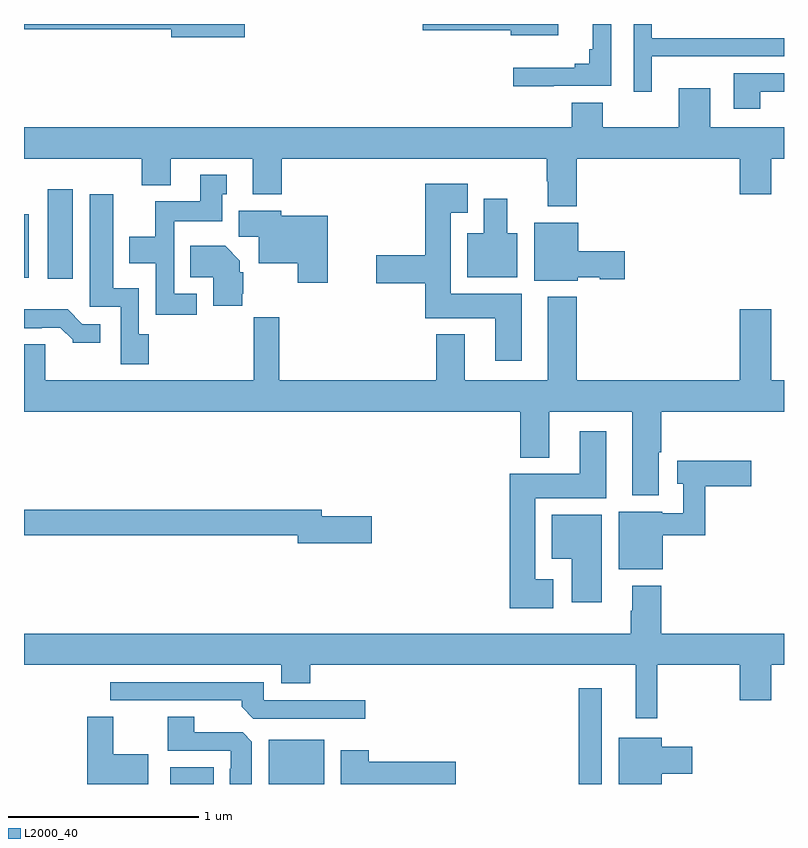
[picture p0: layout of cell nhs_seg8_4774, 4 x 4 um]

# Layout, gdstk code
import gdstk
lib = gdstk.Library(unit=1e-6, precision=1e-09)
def R(c, l, rs):  # rectangles x0, y0, x1, y1
    for r in rs: c.add(gdstk.rectangle(r[:2], r[2:], *l))
def P(c, l, *ps):  # polygons
    for p in ps: c.add(gdstk.Polygon(p, *l))
L2000_40 = (2000, 40)

nhs_seg8_4774 = lib.new_cell('nhs_seg8_4774')
R(nhs_seg8_4774, L2000_40, [(401.771,1087.9,401.998,1087.987), (402.287,1087.9,402.58,1088.134), (403.92,1087.9,404.041,1088.404), (401.126,1090.56,401.257,1091.029), (401,1090.565,401.026,1090.9)])
P(nhs_seg8_4774, L2000_40, [(404.305,1091.729),(404.639,1091.729),(404.639,1091.73),(405,1091.73),(405,1091.826),(404.304,1091.826),(404.304,1091.9),(404.208,1091.9),(404.208,1091.544),(404.305,1091.544)],
  [(402.163,1091.9),(401,1091.9),(401,1091.872),(401.774,1091.872),(401.774,1091.83),(402.163,1091.83)],
  [(403.787,1091.574),(404.091,1091.574),(404.091,1091.9),(403.994,1091.9),(403.994,1091.767),(403.975,1091.767),(403.975,1091.69),(403.898,1091.69),(403.898,1091.671),(403.575,1091.671),(403.575,1091.573),(403.787,1091.573)],
  [(403.813,1091.9),(403.098,1091.9),(403.098,1091.867),(403.562,1091.867),(403.562,1091.84),(403.813,1091.84)],
  [(404.875,1091.544),(405,1091.544),(405,1091.64),(404.735,1091.64),(404.735,1091.454),(404.875,1091.454)],
  [(403.91,1091.192),(404.768,1091.192),(404.768,1091.004),(404.932,1091.004),(404.932,1091.192),(405,1091.192),(405,1091.356),(404.611,1091.356),(404.611,1091.563),(404.447,1091.563),(404.447,1091.356),(404.047,1091.356),(404.047,1091.485),(403.883,1091.485),(403.883,1091.356),(401,1091.356),(401,1091.192),(401.621,1091.192),(401.621,1091.051),(401.773,1091.051),(401.773,1091.192),(402.203,1091.192),(402.203,1091.003),(402.356,1091.003),(402.356,1091.192),(403.75,1091.192),(403.75,1091.072),(403.757,1091.072),(403.757,1090.94),(403.91,1090.94)],
  [(401.908,1090.479),(401.79,1090.479),(401.79,1090.862),(402.043,1090.862),(402.043,1091.004),(402.067,1091.004),(402.067,1091.107),(401.927,1091.107),(401.927,1090.966),(401.692,1090.966),(401.692,1090.78),(401.555,1090.78),(401.555,1090.64),(401.694,1090.64),(401.694,1090.371),(401.908,1090.371)],
  [(403.621,1090.48),(403.246,1090.48),(403.246,1090.907),(403.336,1090.907),(403.336,1091.059),(403.112,1091.059),(403.112,1090.682),(402.855,1090.682),(402.855,1090.535),(403.112,1090.535),(403.112,1090.352),(403.481,1090.352),(403.481,1090.128),(403.621,1090.128)],
  [(401.657,1090.266),(401.604,1090.266),(401.604,1090.51),(401.47,1090.51),(401.47,1091.005),(401.345,1091.005),(401.345,1090.413),(401.508,1090.413),(401.508,1090.11),(401.657,1090.11)],
  [(403.597,1090.798),(403.543,1090.798),(403.543,1090.981),(403.421,1090.981),(403.421,1090.798),(403.334,1090.798),(403.334,1090.568),(403.597,1090.568)],
  [(402.598,1090.891),(402.354,1090.891),(402.354,1090.918),(402.131,1090.918),(402.131,1090.78),(402.236,1090.78),(402.236,1090.64),(402.44,1090.64),(402.44,1090.539),(402.598,1090.539)],
  [(403.914,1090.568),(404.031,1090.568),(404.031,1090.556),(404.161,1090.556),(404.161,1090.703),(403.918,1090.703),(403.918,1090.855),(403.685,1090.855),(403.685,1090.55),(403.914,1090.55)],
  [(402.149,1090.479),(402.154,1090.479),(402.154,1090.593),(402.136,1090.593),(402.136,1090.654),(402.058,1090.732),(401.875,1090.732),(401.875,1090.568),(401.996,1090.568),(401.996,1090.418),(402.149,1090.418)],
  [(404.341,1089.645),(404.354,1089.645),(404.354,1089.86),(405,1089.86),(405,1090.024),(404.932,1090.024),(404.932,1090.399),(404.768,1090.399),(404.768,1090.024),(403.91,1090.024),(403.91,1090.465),(403.757,1090.465),(403.757,1090.024),(403.321,1090.024),(403.321,1090.267),(403.169,1090.267),(403.169,1090.024),(402.344,1090.024),(402.344,1090.357),(402.208,1090.357),(402.208,1090.024),(401.113,1090.024),(401.113,1090.214),(401,1090.214),(401,1089.86),(403.613,1089.86),(403.613,1089.617),(403.765,1089.617),(403.765,1089.86),(404.201,1089.86),(404.201,1089.419),(404.341,1089.419)],
  [(401.401,1090.32),(401.307,1090.32),(401.229,1090.399),(401,1090.399),(401,1090.299),(401.093,1090.299),(401.093,1090.302),(401.192,1090.302),(401.256,1090.238),(401.256,1090.223),(401.401,1090.223)],
  [(403.786,1088.977),(403.69,1088.977),(403.69,1089.404),(404.065,1089.404),(404.065,1089.757),(403.925,1089.757),(403.925,1089.532),(403.556,1089.532),(403.556,1088.825),(403.786,1088.825)],
  [(404.362,1089.208),(404.585,1089.208),(404.585,1089.467),(404.827,1089.467),(404.827,1089.601),(404.438,1089.601),(404.438,1089.479),(404.469,1089.479),(404.469,1089.324),(404.358,1089.324),(404.358,1089.334),(404.129,1089.334),(404.129,1089.029),(404.362,1089.029)],
  [(402.829,1089.308),(402.568,1089.308),(402.568,1089.344),(401,1089.344),(401,1089.208),(402.44,1089.208),(402.44,1089.166),(402.829,1089.166)],
  [(404.041,1089.316),(403.778,1089.316),(403.778,1089.086),(403.883,1089.086),(403.883,1088.856),(404.041,1088.856)],
  [(404.201,1088.944),(404.201,1088.813),(404.194,1088.813),(404.194,1088.692),(401,1088.692),(401,1088.528),(402.353,1088.528),(402.353,1088.429),(402.506,1088.429),(402.506,1088.528),(404.219,1088.528),(404.219,1088.247),(404.333,1088.247),(404.333,1088.528),(404.768,1088.528),(404.768,1088.34),(404.932,1088.34),(404.932,1088.528),(405,1088.528),(405,1088.692),(404.354,1088.692),(404.354,1088.944)],
  [(402.796,1088.34),(402.261,1088.34),(402.261,1088.436),(401.454,1088.436),(401.454,1088.34),(402.146,1088.34),(402.146,1088.306),(402.207,1088.244),(402.796,1088.244)],
  [(402.199,1088.123),(402.15,1088.172),(401.896,1088.172),(401.896,1088.255),(401.756,1088.255),(401.756,1088.076),(402.087,1088.076),(402.087,1087.979),(402.083,1087.979),(402.083,1087.9),(402.199,1087.9)],
  [(401.653,1088.056),(401.47,1088.056),(401.47,1088.254),(401.333,1088.254),(401.333,1087.9),(401.653,1087.9)],
  [(404.356,1087.955),(404.518,1087.955),(404.518,1088.097),(404.356,1088.097),(404.356,1088.143),(404.129,1088.143),(404.129,1087.9),(404.356,1087.9)],
  [(403.273,1088.018),(402.815,1088.018),(402.815,1088.077),(402.668,1088.077),(402.668,1087.9),(403.273,1087.9)])

lib.write_gds('nhs_seg8_4774.gds')
